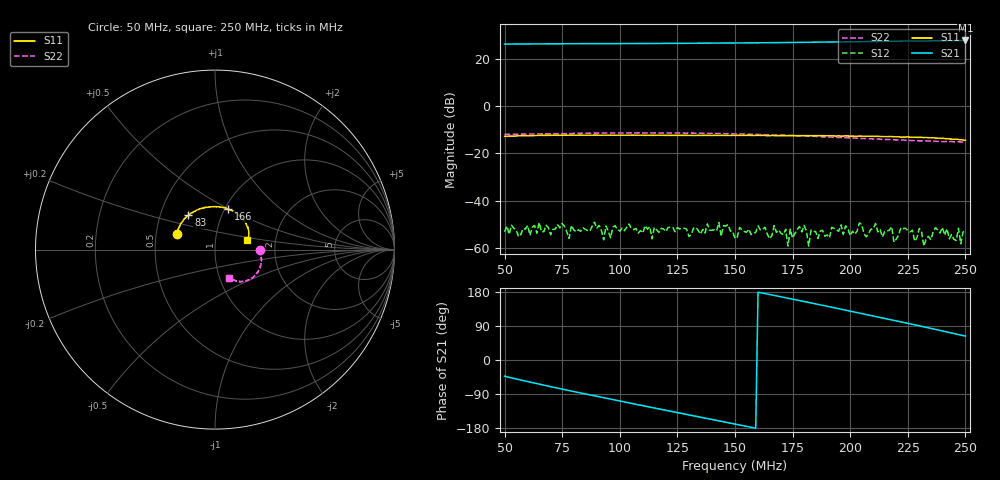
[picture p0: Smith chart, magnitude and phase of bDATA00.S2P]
! Network Analyzer HP8753D.06.12 Serial No. 3410A09394
! 12 Jun 2019  09:23:38
# HZ  S  DB R 50
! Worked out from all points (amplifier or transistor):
!   201 points, 50 MHz to 250 MHz, reference 50 ohm
!   highest |S21| = 27.8 dB at 250 MHz (marker M1)
!   |S21| within 3 dB of that: start of sweep to end of sweep
!   unconditionally stable (mu >= 1): start of sweep to end of sweep
!   at 83 MHz: K = 9.48, MAG = 26.9 dB, |S12| = -53.0 dB
!   at 150 MHz: K = 13.10, MAG = 27.2 dB, |S12| = -56.1 dB
!   at 250 MHz: K = 8.71, MAG = 28.1 dB, |S12| = -53.2 dB
!   S11 on the Smith chart (normalised r, x): 50 MHz: 0.64, +0.12; 83 MHz: 0.69, +0.28; 166 MHz: 1.04, +0.50; 250 MHz: 1.43, +0.17
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5e7  -12.82 157.2  26.21 -42.8  -53.20 145.4  -12.00 -1.1
5.6e7  -12.61 150.8  26.25 -51.5  -55.17 117.5  -11.92 -3.0
6.5e7  -12.42 143.0  26.31 -63.8  -49.33 128.7  -11.79 -6.0
7.2e7  -12.34 136.7  26.34 -72.9  -52.01 106.1  -11.69 -8.7
8.3e7  -12.31 127.7  26.38 -87.1  -53.03 82.0  -11.56 -12.5
8.4e7  -12.33 127.0  26.39 -88.3  -51.58 95.8  -11.53 -12.9
9.3e7  -12.30 120.2  26.42 -99.7  -56.63 60.6  -11.41 -16.2
1.01e8  -12.30 114.3  26.43 -109.6  -51.69 90.4  -11.39 -19.1
1.17e8  -12.36 103.0  26.50 -129.1  -53.47 62.2  -11.37 -25.6
1.34e8  -12.40 92.3  26.57 -149.7  -52.55 73.0  -11.50 -32.6
1.5e8  -12.43 82.0  26.64 -169.0  -56.06 26.6  -11.82 -38.9
1.57e8  -12.45 77.8  26.71 -177.5  -54.40 29.7  -11.92 -41.3
1.66e8  -12.46 71.7  26.81 171.6  -54.87 13.3  -12.22 -44.9
1.75e8  -12.52 66.6  26.92 160.6  -55.86 34.7  -12.46 -48.3
1.84e8  -12.56 60.6  27.00 149.4  -53.05 -21.4  -12.80 -51.4
1.99e8  -12.66 51.7  27.19 130.3  -51.76 -22.2  -13.42 -55.3
2.06e8  -12.78 46.7  27.26 121.5  -54.02 -70.5  -13.70 -57.0
2.17e8  -12.89 40.0  27.38 107.2  -52.58 -38.4  -14.17 -59.0
2.27e8  -13.21 34.1  27.51 94.3  -52.55 -79.1  -14.55 -60.6
2.35e8  -13.48 27.7  27.60 83.5  -56.58 -66.9  -14.81 -61.8
2.43e8  -13.85 21.8  27.68 72.7  -56.17 -102.8  -15.00 -62.7
2.5e8  -14.52 17.4  27.75 63.1  -53.16 -94.7  -15.17 -63.5
